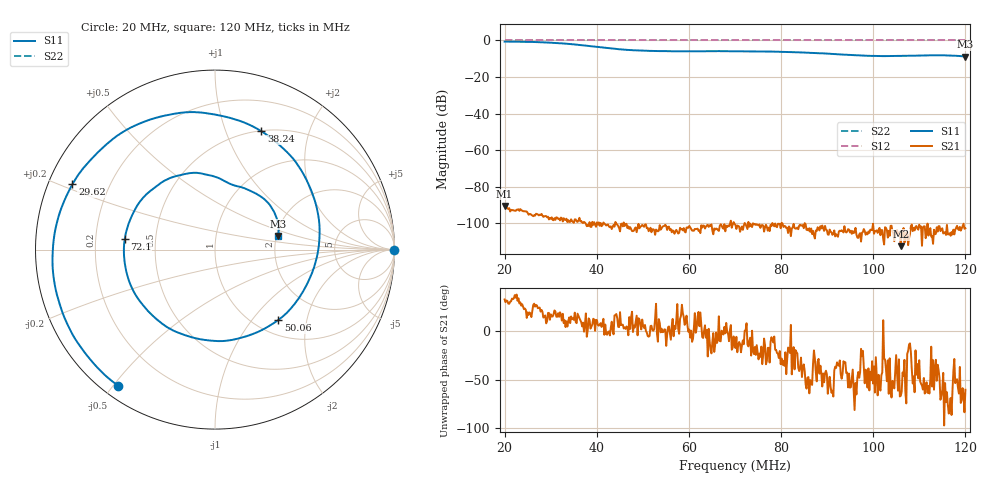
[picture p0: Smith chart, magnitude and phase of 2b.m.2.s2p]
! Anritsu VNA Master:  Model: MS2036C/10/77
! SN:  1601066
! /card0/usr/18may27.balun/252b.m2.s2p
! Existing Calibration Information:
! TYPE:  Current Settings,  Active Cal Settings
! TIME:  05/27/2018 12:26:35 PM,  05/27/2018 12:21:44 PM
! INTERNAL TEMP:  54.0 C,  53.3 C
! # POINTS:  500,  500
! START FREQ:  20.000 MHz,  20.000 MHz
! STOP FREQ:  120.000 MHz,  120.000 MHz
! SOURCE POWER:  High,  High
! IFBW:  50 Hz,  50 Hz
! AVG FACTOR:  1 ,  1
! REF PLANE 1:  0 mm,  0 mm
! REF PLANE 2:  0 mm,  0 mm
! CAL TYPE:  Full S11,  Full S11
! CAL METHOD:  SOLT,  SOLT
! CAL LINE TYPE:  Coax,  Coax
! DUT PORT 1:  K-Conn(M),  K-Conn(M)
! DUT PORT 2:  K-Conn(M),  K-Conn(M)
! CAL STATUS:  OK: Accuracy High,  --
# GHZ S DB R 50.0
! FREQ.GHZ  S11DB  S11A  S21DB  S21A  S12DB  S12A  S22DB  S22A
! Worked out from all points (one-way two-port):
!   500 points, 20 MHz to 120 MHz, reference 50 ohm
!   highest |S21| = -90.55 dB at 20 MHz (marker M1); lowest = -112.5 dB at 106 MHz (marker M2)
!   lowest |S11| = -8.9 dB at 120 MHz (marker M3), VSWR 2.12, Z = 102 + j17.8 ohm
!   |S11| at or under -10 dB: nowhere
!   |S22| runs from 0.0 to 0.0 dB; largest |S21 - S12| = 1
!   S11 on the Smith chart (normalised r, x): 20 MHz: 0.05, -0.51; 29.62 MHz: 0.07, +0.22; 38.24 MHz: 0.51, +1.34; 50.06 MHz: 1.26, -1.37; 72.1 MHz: 0.33, +0.05; 120 MHz: 2.04, +0.36
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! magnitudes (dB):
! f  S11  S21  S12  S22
! 20 MHz  -0.6  -90.6  0.0  0.0
! 25.81 MHz  -0.8  -95.4  0.0  0.0
! 29.62 MHz  -1.2  -97.9  0.0  0.0
! 33.03 MHz  -1.7  -98.0  0.0  0.0
! 36.83 MHz  -2.6  -99.6  0.0  0.0
! 38.24 MHz  -3.0  -101.5  0.0  0.0
! 41.84 MHz  -4.1  -100.6  0.0  0.0
! 45.65 MHz  -5.0  -101.7  0.0  0.0
! 50.06 MHz  -5.6  -101.3  0.0  0.0
! 53.47 MHz  -5.8  -104.1  0.0  0.0
! 57.88 MHz  -5.9  -105.2  0.0  0.0
! 70.1 MHz  -5.9  -101.0  0.0  0.0
! 72.1 MHz  -5.9  -99.9  0.0  0.0
! 78.92 MHz  -6.1  -101.8  0.0  0.0
! 86.73 MHz  -6.8  -105.9  0.0  0.0
! 97.96 MHz  -8.3  -103.2  0.0  0.0
! 100.8 MHz  -8.5  -103.9  0.0  0.0
! 103.4 MHz  -8.5  -104.1  0.0  0.0
! 106 MHz  -8.4  -112.5  0.0  0.0
! 114.6 MHz  -8.1  -104.3  0.0  0.0
! 117.6 MHz  -8.3  -106.1  0.0  0.0
! 120 MHz  -8.9  -102.8  0.0  0.0
